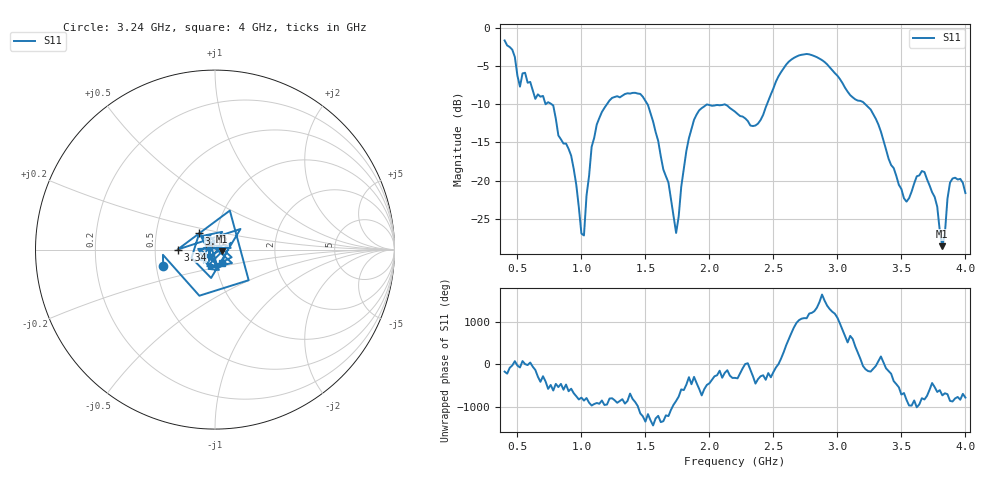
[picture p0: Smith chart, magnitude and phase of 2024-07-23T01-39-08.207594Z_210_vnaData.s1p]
!Created with skrf (http://scikit-rf.org).
# Hz S RI R 50.0
!freq ReS11 ImS11
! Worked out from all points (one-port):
!   181 points, 400 MHz to 4 GHz, reference 50 ohm
!   lowest |S11| = -28.6 dB at 3.82 GHz (marker M1), VSWR 1.08, Z = 53.8 - j0.849 ohm
!   |S11| at or under -10 dB: 765.4 MHz to 1.2 GHz (434.9 MHz wide, 44.2 % of centre); 1.516 GHz to 2.45 GHz (934.6 MHz wide, 47.1 % of centre); 3.217 GHz to end of sweep (the widest 3 of 4)
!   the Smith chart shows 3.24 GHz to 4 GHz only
!   S11 on the Smith chart (normalised r, x): 3.24 GHz: 0.54, -0.11; 3.34 GHz: 0.65, +0.00; 3.42 GHz: 0.83, +0.15; 4 GHz: 1.06, -0.16
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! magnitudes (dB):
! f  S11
! 400 MHz  -1.7
! 520 MHz  -7.7
! 560 MHz  -5.9
! 780 MHz  -10.2
! 860 MHz  -15.2
! 920 MHz  -16.8
! 1.02 GHz  -27.2
! 1.08 GHz  -15.6
! 1.12 GHz  -12.7
! 1.3 GHz  -9.1
! 1.52 GHz  -10.1
! 1.74 GHz  -26.9
! 1.76 GHz  -24.7
! 1.82 GHz  -16.1
! 1.9 GHz  -11.4
! 2.2 GHz  -11.0
! 2.38 GHz  -12.5
! 2.66 GHz  -4.0
! 3.1 GHz  -8.8
! 3.24 GHz  -10.4
! 3.34 GHz  -13.6
! 3.42 GHz  -18.0
! 3.56 GHz  -22.3
! 3.68 GHz  -18.9
! 3.78 GHz  -23.4
! 3.82 GHz  -28.6
! 3.88 GHz  -20.3
! 4 GHz  -21.6
